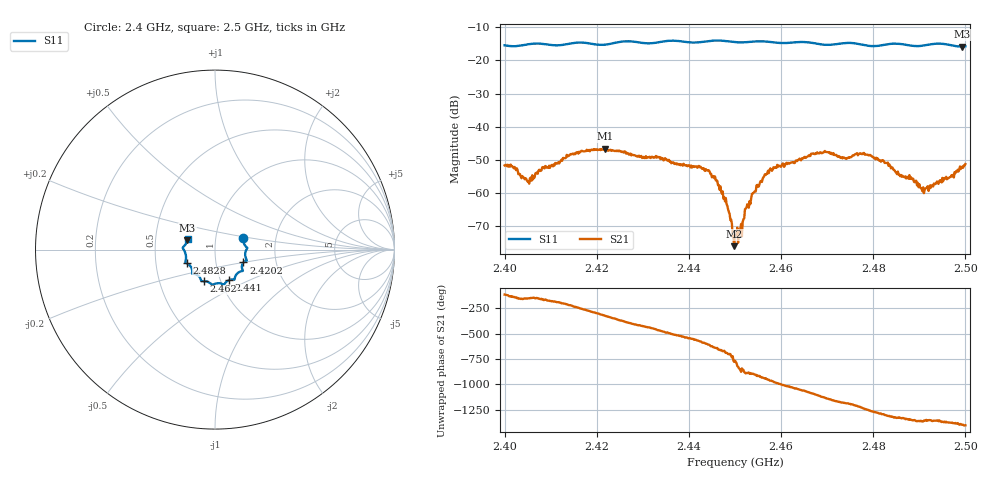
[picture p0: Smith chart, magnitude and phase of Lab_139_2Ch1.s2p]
# Hz S RI R 50
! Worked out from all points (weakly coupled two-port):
!   601 points, 2.4 GHz to 2.5 GHz, reference 50 ohm
!   highest |S21| = -46.74 dB at 2.4218 GHz (marker M1); lowest = -76.2 dB at 2.4498 GHz (marker M2)
!   lowest |S11| = -15.8 dB at 2.4993 GHz (marker M3), VSWR 1.39, Z = 36.5 + j3.89 ohm
!   |S11| at or under -10 dB: start of sweep to end of sweep
!   S12 and S22 are empty: the file has one direction only
!   S11 on the Smith chart (normalised r, x): 2.4 GHz: 1.36, +0.17; 2.4202 GHz: 1.36, -0.20; 2.441 GHz: 1.10, -0.39; 2.462 GHz: 0.84, -0.30; 2.4828 GHz: 0.72, -0.11; 2.5 GHz: 0.73, +0.09
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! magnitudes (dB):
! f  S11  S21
! 2.4 GHz  -15.4  -51.8
! 2.4053 GHz  -15.0  -57.3
! 2.4167 GHz  -14.6  -47.4
! 2.4202 GHz  -15.2  -47.2
! 2.4218 GHz  -15.2  -46.7
! 2.4333 GHz  -14.5  -49.3
! 2.441 GHz  -14.6  -52.0
! 2.446 GHz  -13.9  -56.2
! 2.4482 GHz  -14.1  -63.5
! 2.4498 GHz  -14.4  -76.2
! 2.45 GHz  -14.4  -72.8
! 2.4512 GHz  -14.5  -70.8
! 2.4542 GHz  -14.2  -59.8
! 2.4567 GHz  -14.2  -54.7
! 2.462 GHz  -14.6  -51.0
! 2.4667 GHz  -14.6  -48.3
! 2.4775 GHz  -15.2  -48.3
! 2.4828 GHz  -15.1  -51.1
! 2.4833 GHz  -15.0  -51.9
! 2.4908 GHz  -15.5  -58.4
! 2.4993 GHz  -15.8  -52.2
! 2.5 GHz  -15.7  -51.4
